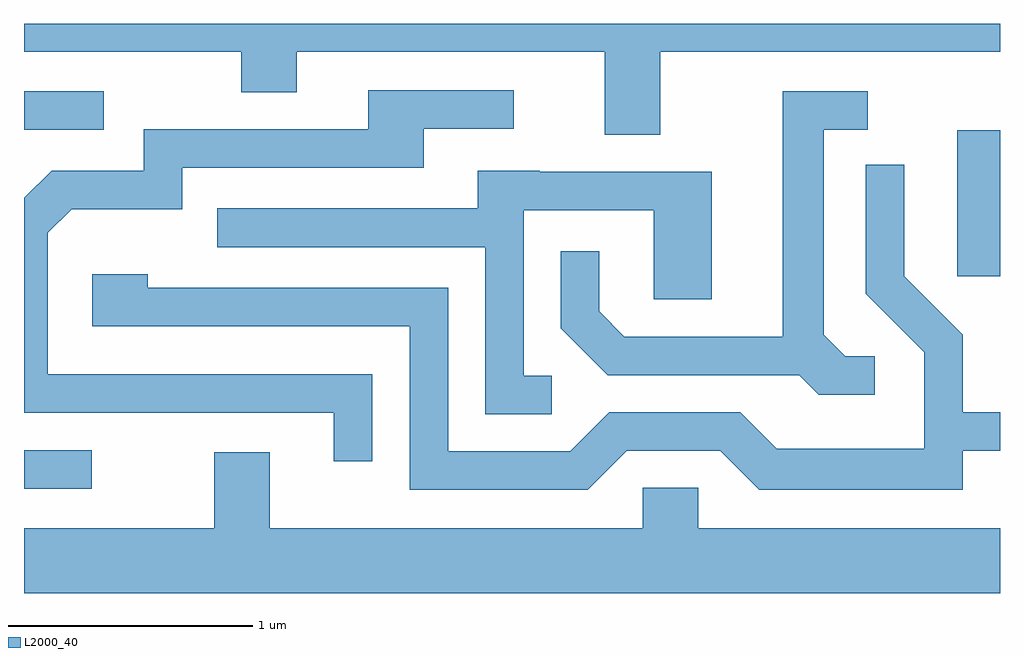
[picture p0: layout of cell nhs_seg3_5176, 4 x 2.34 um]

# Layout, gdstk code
import gdstk
lib = gdstk.Library(unit=1e-6, precision=1e-09)
def R(c, l, rs):  # rectangles x0, y0, x1, y1
    for r in rs: c.add(gdstk.rectangle(r[:2], r[2:], *l))
def P(c, l, *ps):  # polygons
    for p in ps: c.add(gdstk.Polygon(p, *l))
L2000_40 = (2000, 40)

nhs_seg3_5176 = lib.new_cell('nhs_seg3_5176')
R(nhs_seg3_5176, L2000_40, [(337.611,1141.986,337.888,1142.144), (341.436,1142.856,341.611,1143.454), (337.611,1143.456,337.938,1143.614)])
P(nhs_seg3_5176, L2000_40, [(340.219,1143.776),(341.611,1143.776),(341.611,1143.892),(337.611,1143.892),(337.611,1143.776),(338.501,1143.776),(338.501,1143.611),(338.729,1143.611),(338.729,1143.776),(339.991,1143.776),(339.991,1143.436),(340.219,1143.436)],
  [(339.039,1142.454),(337.709,1142.454),(337.709,1143.034),(337.807,1143.131),(338.259,1143.131),(338.259,1143.301),(339.249,1143.301),(339.249,1143.461),(339.618,1143.461),(339.618,1143.619),(339.021,1143.619),(339.021,1143.459),(338.101,1143.459),(338.101,1143.289),(337.724,1143.289),(337.611,1143.177),(337.611,1142.296),(338.881,1142.296),(338.881,1142.098),(339.039,1142.098)],
  [(341.098,1142.529),(340.977,1142.529),(340.889,1142.617),(340.889,1143.456),(341.068,1143.456),(341.068,1143.614),(340.721,1143.614),(340.721,1142.609),(340.072,1142.609),(339.969,1142.712),(339.969,1142.958),(339.811,1142.958),(339.811,1142.644),(340.004,1142.451),(340.789,1142.451),(340.869,1142.371),(341.098,1142.371)],
  [(340.082,1142.141),(340.464,1142.141),(340.624,1141.981),(341.459,1141.981),(341.459,1142.141),(341.611,1142.141),(341.611,1142.299),(341.459,1142.299),(341.459,1142.617),(341.219,1142.857),(341.219,1143.313),(341.061,1143.313),(341.061,1142.784),(341.301,1142.544),(341.301,1142.149),(340.697,1142.149),(340.547,1142.299),(340.009,1142.299),(339.849,1142.139),(339.349,1142.139),(339.349,1142.809),(338.119,1142.809),(338.119,1142.864),(337.891,1142.864),(337.891,1142.651),(339.191,1142.651),(339.191,1141.981),(339.922,1141.981)],
  [(339.773,1142.449),(339.659,1142.449),(339.659,1143.126),(340.191,1143.126),(340.191,1142.761),(340.429,1142.761),(340.429,1143.284),(339.725,1143.284),(339.725,1143.289),(339.471,1143.289),(339.471,1143.134),(338.403,1143.134),(338.403,1142.976),(339.501,1142.976),(339.501,1142.291),(339.773,1142.291)],
  [(341.611,1141.824),(340.374,1141.824),(340.374,1141.989),(340.146,1141.989),(340.146,1141.824),(338.619,1141.824),(338.619,1142.134),(338.391,1142.134),(338.391,1141.824),(337.611,1141.824),(337.611,1141.556),(341.611,1141.556)])

lib.write_gds('nhs_seg3_5176.gds')
